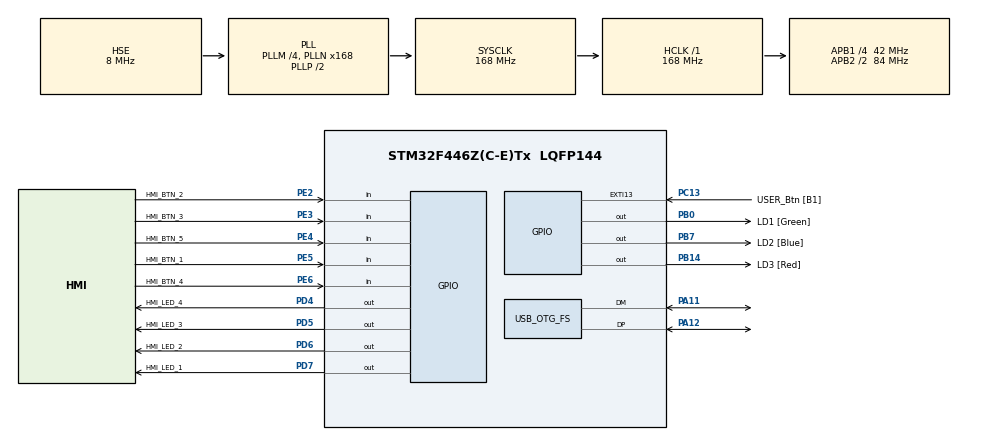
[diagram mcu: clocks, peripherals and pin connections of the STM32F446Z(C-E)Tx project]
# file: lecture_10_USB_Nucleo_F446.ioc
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Mcu.Family=STM32F4
Mcu.Name=STM32F446Z(C-E)Tx
Mcu.Package=LQFP144
NVIC.EXTI15_10_IRQn=true\:0\:0\:false\:false\:true\:true\:true\:true
NVIC.OTG_FS_IRQn=true\:0\:0\:false\:false\:true\:true\:true\:true
NVIC.PriorityGroup=NVIC_PRIORITYGROUP_4
PA11.Mode=Device_Only
PA11.Signal=USB_OTG_FS_DM
PA12.Mode=Device_Only
PA12.Signal=USB_OTG_FS_DP
PA13.Mode=Serial_Wire
PA13.Signal=SYS_JTMS-SWDIO
PA14.Mode=Serial_Wire
PA14.Signal=SYS_JTCK-SWCLK
PB0.GPIO_Label=LD1 [Green]
PB0.Signal=GPIO_Output
PB14.GPIO_Label=LD3 [Red]
PB14.Signal=GPIO_Output
PB7.GPIO_Label=LD2 [Blue]
PB7.Signal=GPIO_Output
PC13.GPIO_Label=USER_Btn [B1]
PC13.Signal=GPXTI13
PC14-OSC32_IN.Mode=LSE-External-Oscillator
PC14-OSC32_IN.Signal=RCC_OSC32_IN
PC15-OSC32_OUT.Mode=LSE-External-Oscillator
PC15-OSC32_OUT.Signal=RCC_OSC32_OUT
PD4.GPIO_Label=HMI_LED_4
PD4.GPIO_ModeDefaultOutputPP=GPIO_MODE_OUTPUT_PP
PD4.GPIO_PuPd=GPIO_NOPULL
PD4.GPIO_Speed=GPIO_SPEED_FREQ_LOW
PD4.PinState=GPIO_PIN_RESET
PD4.Signal=GPIO_Output
PD5.GPIO_Label=HMI_LED_3
PD5.GPIO_ModeDefaultOutputPP=GPIO_MODE_OUTPUT_PP
PD5.GPIO_PuPd=GPIO_NOPULL
PD5.GPIO_Speed=GPIO_SPEED_FREQ_LOW
PD5.PinState=GPIO_PIN_RESET
PD5.Signal=GPIO_Output
PD6.GPIO_Label=HMI_LED_2
PD6.GPIO_ModeDefaultOutputPP=GPIO_MODE_OUTPUT_PP
PD6.GPIO_PuPd=GPIO_NOPULL
PD6.GPIO_Speed=GPIO_SPEED_FREQ_LOW
PD6.PinState=GPIO_PIN_RESET
PD6.Signal=GPIO_Output
PD7.GPIO_Label=HMI_LED_1
PD7.GPIO_ModeDefaultOutputPP=GPIO_MODE_OUTPUT_PP
PD7.GPIO_PuPd=GPIO_NOPULL
PD7.GPIO_Speed=GPIO_SPEED_FREQ_LOW
PD7.PinState=GPIO_PIN_RESET
PD7.Signal=GPIO_Output
PE2.GPIO_Label=HMI_BTN_2
PE2.GPIO_PuPd=GPIO_PULLDOWN
PE2.Signal=GPIO_Input
PE3.GPIO_Label=HMI_BTN_3
PE3.GPIO_PuPd=GPIO_PULLDOWN
PE3.Signal=GPIO_Input
PE4.GPIO_Label=HMI_BTN_5
PE4.GPIO_PuPd=GPIO_PULLDOWN
PE4.Signal=GPIO_Input
PE5.GPIO_Label=HMI_BTN_1
PE5.GPIO_PuPd=GPIO_PULLDOWN
PE5.Signal=GPIO_Input
PE6.GPIO_Label=HMI_BTN_4
PE6.GPIO_PuPd=GPIO_PULLDOWN
PE6.Signal=GPIO_Input
PH0-OSC_IN.Mode=HSE-External-Clock-Source
PH0-OSC_IN.Signal=RCC_OSC_IN
PH1-OSC_OUT.Mode=HSE-External-Clock-Source
PH1-OSC_OUT.Signal=RCC_OSC_OUT
ProjectManager.HeapSize=0x200
ProjectManager.StackSize=0x400
ProjectManager.TargetToolchain=STM32CubeIDE
RCC.48MHZClocksFreq_Value=24000000
RCC.AHBFreq_Value=168000000
RCC.APB1CLKDivider=RCC_HCLK_DIV4
RCC.APB1Freq_Value=42000000
RCC.APB1TimFreq_Value=84000000
RCC.APB2CLKDivider=RCC_HCLK_DIV2
RCC.APB2Freq_Value=84000000
RCC.APB2TimFreq_Value=168000000
RCC.CortexFreq_Value=168000000
RCC.HCLKFreq_Value=168000000
RCC.HSE_VALUE=8000000
RCC.HSI_VALUE=16000000
RCC.PLLM=4
RCC.PLLMUL=RCC_PLL_MUL9
RCC.PLLN=168
RCC.PLLQ=7
RCC.PLLSourceVirtual=RCC_PLLSOURCE_HSE
RCC.PRESCALERUSB=RCC_USBCLKSOURCE_PLL_DIV1_5
RCC.SYSCLKFreq_VALUE=168000000
RCC.SYSCLKSource=RCC_SYSCLKSOURCE_PLLCLK
RCC.SYSCLKSourceVirtual=RCC_SYSCLKSOURCE_PLLCLK
RCC.USBFreq_Value=48000000
RCC.VCOOutputFreq_Value=336000000
USB_DEVICE.CLASS_NAME_FS=HID
USB_DEVICE.PRODUCT_STRING_HID_FS=Crystal Clear Electronics Mouse
USB_DEVICE.VirtualMode-HID_FS=Hid
USB_DEVICE.VirtualModeFS=Hid_FS
USB_OTG_FS.VirtualMode=Device_Only
VP_USB_DEVICE_VS_USB_DEVICE_HID_FS.Mode=HID_FS
board=NUCLEO-F446ZE

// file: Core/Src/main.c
/* USER CODE BEGIN Header */
/**
  ******************************************************************************
  * @file           : main.c
  * @brief          : Main program body
  ******************************************************************************
  * @attention
  *
  * Copyright (c) 2024 STMicroelectronics.
  * All rights reserved.
  *
  * This software is licensed under terms that can be found in the LICENSE file
  * in the root directory of this software component.
  * If no LICENSE file comes with this software, it is provided AS-IS.
  *
  ******************************************************************************
  */
/* USER CODE END Header */
#include "main.h"
#include "usb_device.h"
#include "gpio.h"

/* USER CODE BEGIN Includes */
#include "usbd_hid.h"
/* USER CODE END Includes */

/* USER CODE BEGIN PD */

//Button definition

#define BTN_UP_GPIO_Port 	HMI_BTN_1_GPIO_Port
#define BTN_UP_Pin		 	HMI_BTN_1_Pin
#define BTN_DOWN_GPIO_Port  HMI_BTN_5_GPIO_Port
#define BTN_DOWN_Pin		HMI_BTN_5_Pin
#define BTN_LEFT_GPIO_Port  HMI_BTN_2_GPIO_Port
#define BTN_LEFT_Pin		HMI_BTN_2_Pin
#define BTN_RIGHT_GPIO_Port HMI_BTN_4_GPIO_Port
#define BTN_RIGHT_Pin		HMI_BTN_4_Pin
#define BTN_CLICK_GPIO_Port HMI_BTN_3_GPIO_Port
#define BTN_CLICK_Pin		HMI_BTN_3_Pin
/* USER CODE END PD */

void SystemClock_Config(void);

/* USER CODE BEGIN 0 */
#define MOUSE_STEP_SIZE 4

struct mouse_report_t {
    uint8_t buttons;        // Byte to store the value referring to the actual button (1 = left button, 2 = right button)
    int8_t x;               // Horizontal movement (+ = right, - = left)
    int8_t y;               // Vertical movement (+ = down, - = up)
    int8_t wheel;           // Wheel
};
struct mouse_report_t mouseHID;

extern USBD_HandleTypeDef hUsbDeviceFS;

/* USER CODE END 0 */

int main(void)
{

  /* MCU Configuration--------------------------------------------------------*/

  /* Reset of all peripherals, Initializes the Flash interface and the Systick. */
  HAL_Init();

  /* Configure the system clock */
  SystemClock_Config();

  /* Initialize all configured peripherals */
  MX_GPIO_Init();
  MX_USB_DEVICE_Init();
  /* USER CODE BEGIN 2 */

  mouseHID.buttons = 0;
  mouseHID.x = 0;
  mouseHID.y = 0;
  mouseHID.wheel = 0;

  /* USER CODE END 2 */

  /* Infinite loop */
  while (1)
  {

    /* USER CODE BEGIN 3 */
	  mouseHID.buttons = 0;
	  mouseHID.x = 0;
	  mouseHID.y = 0;

	  // Read the buttons setting structure data members
	  if (HAL_GPIO_ReadPin(BTN_CLICK_GPIO_Port, BTN_CLICK_Pin))
	  {
		  mouseHID.buttons = 1;
	  }
	  if (HAL_GPIO_ReadPin(BTN_UP_GPIO_Port, BTN_UP_Pin))
	  {
		  mouseHID.y = -MOUSE_STEP_SIZE;
	  }
	  if (HAL_GPIO_ReadPin(BTN_DOWN_GPIO_Port, BTN_DOWN_Pin))
	  {
		  mouseHID.y = MOUSE_STEP_SIZE;
	  }
	  if (HAL_GPIO_ReadPin(BTN_LEFT_GPIO_Port, BTN_LEFT_Pin))
	  {
		  mouseHID.x = -MOUSE_STEP_SIZE;
	  }
	  if (HAL_GPIO_ReadPin(BTN_RIGHT_GPIO_Port, BTN_RIGHT_Pin))
	  {
		  mouseHID.x = MOUSE_STEP_SIZE;
	  }
	  // Send the data of the mouseHID structure
	  USBD_HID_SendReport(&hUsbDeviceFS, (uint8_t *) &mouseHID, sizeof(struct mouse_report_t));

	  HAL_Delay(50);
  }
  /* USER CODE END 3 */
}

void SystemClock_Config(void)
{
  RCC_OscInitTypeDef RCC_OscInitStruct = {0};
  RCC_ClkInitTypeDef RCC_ClkInitStruct = {0};

  /** Configure the main internal regulator output voltage
  */
  __HAL_RCC_PWR_CLK_ENABLE();
  __HAL_PWR_VOLTAGESCALING_CONFIG(PWR_REGULATOR_VOLTAGE_SCALE1);

  /** Initializes the RCC Oscillators according to the specified parameters
  * in the RCC_OscInitTypeDef structure.
  */
  RCC_OscInitStruct.OscillatorType = RCC_OSCILLATORTYPE_HSE;
  RCC_OscInitStruct.HSEState = RCC_HSE_BYPASS;
  RCC_OscInitStruct.PLL.PLLState = RCC_PLL_ON;
  RCC_OscInitStruct.PLL.PLLSource = RCC_PLLSOURCE_HSE;
  RCC_OscInitStruct.PLL.PLLM = 4;
  RCC_OscInitStruct.PLL.PLLN = 168;
  RCC_OscInitStruct.PLL.PLLP = RCC_PLLP_DIV2;
  RCC_OscInitStruct.PLL.PLLQ = 7;
  RCC_OscInitStruct.PLL.PLLR = 2;
  if (HAL_RCC_OscConfig(&RCC_OscInitStruct) != HAL_OK)
  {
    Error_Handler();
  }

  /** Initializes the CPU, AHB and APB buses clocks
  */
  RCC_ClkInitStruct.ClockType = RCC_CLOCKTYPE_HCLK|RCC_CLOCKTYPE_SYSCLK
                              |RCC_CLOCKTYPE_PCLK1|RCC_CLOCKTYPE_PCLK2;
  RCC_ClkInitStruct.SYSCLKSource = RCC_SYSCLKSOURCE_PLLCLK;
  RCC_ClkInitStruct.AHBCLKDivider = RCC_SYSCLK_DIV1;
  RCC_ClkInitStruct.APB1CLKDivider = RCC_HCLK_DIV4;
  RCC_ClkInitStruct.APB2CLKDivider = RCC_HCLK_DIV2;

  if (HAL_RCC_ClockConfig(&RCC_ClkInitStruct, FLASH_LATENCY_5) != HAL_OK)
  {
    Error_Handler();
  }
}

void Error_Handler(void)
{
  __disable_irq();
  while (1)
  {
  }
}
